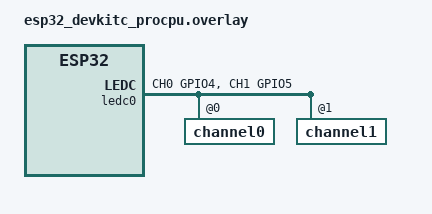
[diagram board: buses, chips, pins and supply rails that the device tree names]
/*
 * Two LEDC channels on two DIFFERENT timers:
 *   channel 0 -> timer 0 -> GPIO4  ("slow", 1 Hz)
 *   channel 1 -> timer 1 -> GPIO5  ("interfering" signal)
 *
 * NOTE: copy the exact pinmux macro style from
 * tests/drivers/pwm/pwm_api/boards/esp32_devkitc_procpu.overlay in your tree.
 * Check the macro names exist with:
 *   grep -rn "LEDC_CH[01]_GPIO[45]" zephyr/include/zephyr/dt-bindings/pinctrl/
 */
#include <zephyr/dt-bindings/pwm/pwm.h>

&pinctrl {
	ledc0_default: ledc0_default {
		group1 {
			pinmux = <LEDC_CH0_GPIO4>,
				 <LEDC_CH1_GPIO5>;
			output-enable;
		};
	};
};

&ledc0 {
	pinctrl-0 = <&ledc0_default>;
	pinctrl-names = "default";
	#address-cells = <1>;
	#size-cells = <0>;
	status = "okay";

	channel0@0 {
		reg = <0x0>;
		timer = <0>;
	};

	channel1@1 {
		reg = <0x1>;
		timer = <1>;
	};
};
